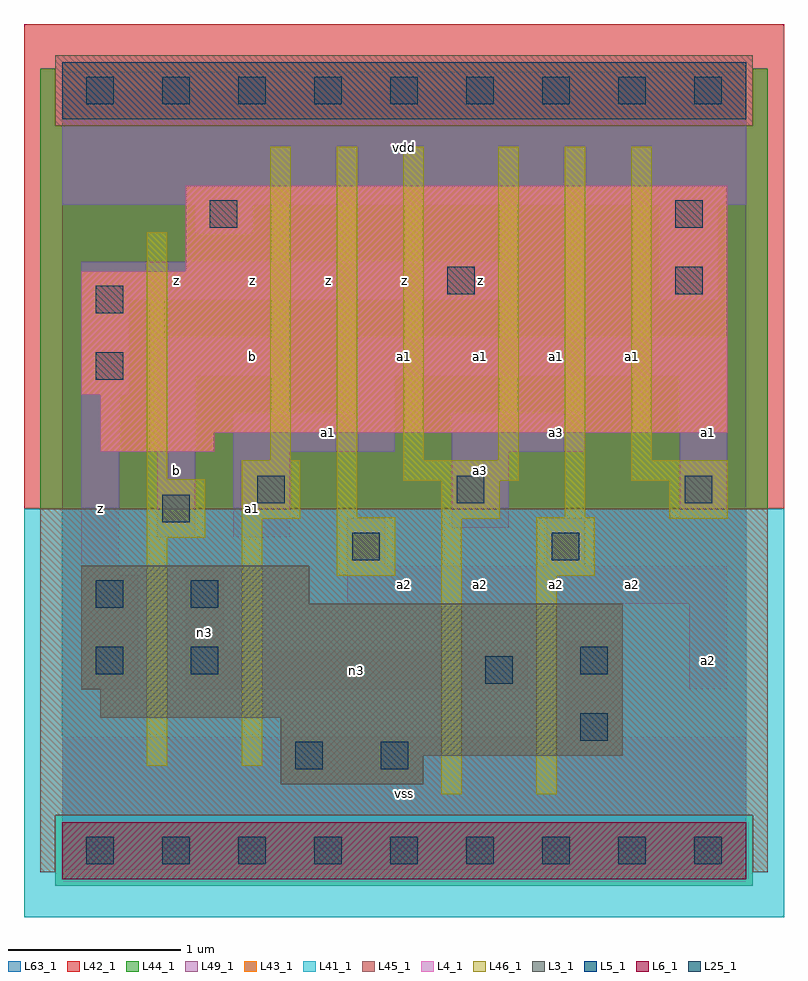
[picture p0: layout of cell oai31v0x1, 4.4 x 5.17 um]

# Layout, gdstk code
import gdstk
lib = gdstk.Library(unit=1e-6, precision=1e-09)
def R(c, l, rs):  # rectangles x0, y0, x1, y1
    for r in rs: c.add(gdstk.rectangle(r[:2], r[2:], *l))
def A(c, l, x, y, w, h, nx, ny, dx, dy):  # array of equal rectangles
    R(c, l, [(x+i*dx, y+j*dy, x+i*dx+w, y+j*dy+h) for i in range(nx) for j in range(ny)])
L3_1 = (3, 1)
L4_1 = (4, 1)
L5_1 = (5, 1)
L6_1 = (6, 1)
L25_1 = (25, 1)
L41_1 = (41, 1)
L42_1 = (42, 1)
L43_1 = (43, 1)
L44_1 = (44, 1)
L45_1 = (45, 1)
L46_1 = (46, 1)
L49_1 = (49, 1)
L63_1 = (63, 1)

oai31v0x1 = lib.new_cell('oai31v0x1')
R(oai31v0x1, L3_1, [(1.265,0.385,2.09,0.55), (1.265,0.55,3.245,0.77), (0.22,0.77,3.245,0.935), (0.11,0.935,3.245,1.43), (0.11,1.43,1.43,1.65)])
R(oai31v0x1, L4_1, [(0.22,2.31,0.88,2.42), (0.22,2.42,3.85,2.64), (0.11,2.64,3.85,3.355), (0.715,3.355,3.85,3.85)])
R(oai31v0x1, L5_1, [(0,4.235,3.96,4.565)])
R(oai31v0x1, L6_1, [(0,-0.165,3.96,0.165)])
A(oai31v0x1, L25_1, 0.14, -0.08, 0.16, 0.16, 9, 2, 0.44, 4.4)
R(oai31v0x1, L25_1, [(1.35,0.47,1.51,0.63), (1.845,0.47,2.005,0.63), (3,0.635,3.16,0.795), (2.45,0.965,2.61,1.125), (0.195,1.02,0.355,1.18), (0.745,1.02,0.905,1.18), (3,1.02,3.16,1.18), (0.195,1.405,0.355,1.565), (0.745,1.405,0.905,1.565), (1.68,1.68,1.84,1.84), (2.835,1.68,2.995,1.84), (0.58,1.9,0.74,2.06), (1.13,2.01,1.29,2.17), (2.285,2.01,2.445,2.17), (3.605,2.01,3.765,2.17), (0.195,2.725,0.355,2.885), (0.195,3.11,0.355,3.27), (2.23,3.22,2.39,3.38), (3.55,3.22,3.71,3.38), (0.855,3.605,1.015,3.765), (3.55,3.605,3.71,3.765)])
R(oai31v0x1, L41_1, [(-0.22,-0.385,4.18,1.98)])
R(oai31v0x1, L42_1, [(-0.22,1.98,4.18,4.785)])
R(oai31v0x1, L43_1, [(0,-0.165,3.96,0.165), (1.265,0.385,2.09,0.55), (1.265,0.55,3.245,0.77), (0.22,0.77,3.245,0.935), (0.11,0.935,3.245,1.43), (0.11,1.43,1.43,1.65), (0.22,2.31,0.88,2.42), (0.22,2.42,3.85,2.64), (0.11,2.64,3.85,3.355), (0.715,3.355,3.85,3.85), (0,4.235,3.96,4.565)])
R(oai31v0x1, L44_1, [(-0.04,-0.205,4,0.205), (-0.125,1.98,4.085,4.195), (-0.125,4.195,-0.04,4.525), (4,4.195,4.085,4.525)])
R(oai31v0x1, L45_1, [(-0.125,-0.125,-0.04,0.205), (4,-0.125,4.085,0.205), (-0.125,0.205,4.085,1.98), (-0.04,4.195,4,4.605)])
R(oai31v0x1, L46_1, [(2.195,0.325,2.315,1.92), (2.745,0.325,2.865,1.59), (0.49,0.49,0.61,1.81), (1.04,0.49,1.16,1.92), (1.59,1.59,1.93,1.93), (2.745,1.59,3.085,1.93), (0.49,1.81,0.83,2.15), (1.04,1.92,1.38,2.26), (2.195,1.92,2.535,2.14), (3.515,1.92,3.855,2.14), (1.59,1.93,1.71,4.075), (2.91,1.93,3.03,4.075), (1.975,2.14,2.645,2.26), (3.295,2.14,3.855,2.26), (0.49,2.15,0.61,3.58), (1.205,2.26,1.325,4.075), (1.975,2.26,2.095,4.075), (2.525,2.26,2.645,4.075), (3.295,2.26,3.415,4.075)])
R(oai31v0x1, L49_1, [(0,-0.11,3.96,0.66), (2.915,0.66,3.245,1.21), (0.11,0.935,0.44,1.595), (0.715,0.935,2.695,1.155), (3.63,0.935,3.85,1.43), (0.715,1.155,0.935,1.65), (1.65,1.43,3.85,1.65), (0.11,1.595,0.33,2.64), (1.65,1.65,1.87,1.925), (2.805,1.65,3.025,1.925), (0.55,1.815,0.77,2.75), (0.99,1.815,1.32,2.31), (2.255,1.87,2.585,2.31), (3.575,1.925,3.85,2.75), (0.99,2.31,1.925,2.53), (2.255,2.31,3.025,2.53), (1.705,2.53,1.925,2.75), (0.11,2.64,0.385,3.19), (0.55,2.75,1.265,2.97), (1.705,2.75,3.85,2.97), (0.11,3.19,2.585,3.41), (3.465,3.19,3.795,3.74), (0.77,3.575,1.1,3.74), (0,3.74,3.96,4.51)])
R(oai31v0x1, L63_1, [(0,0,3.96,4.4)])
oai31v0x1.add(gdstk.Label('z', (0.22,1.98), layer=49, texttype=1))
oai31v0x1.add(gdstk.Label('n3', (0.825,1.265), layer=49, texttype=1))
oai31v0x1.add(gdstk.Label('b', (0.66,2.2), layer=49, texttype=1))
oai31v0x1.add(gdstk.Label('a1', (1.1,1.98), layer=49, texttype=1))
oai31v0x1.add(gdstk.Label('b', (1.1,2.86), layer=49, texttype=1))
oai31v0x1.add(gdstk.Label('z', (0.66,3.3), layer=49, texttype=1))
oai31v0x1.add(gdstk.Label('z', (1.1,3.3), layer=49, texttype=1))
oai31v0x1.add(gdstk.Label('vss', (1.98,0.33), layer=49, texttype=1))
oai31v0x1.add(gdstk.Label('a2', (1.98,1.54), layer=49, texttype=1))
oai31v0x1.add(gdstk.Label('a1', (1.54,2.42), layer=49, texttype=1))
oai31v0x1.add(gdstk.Label('a1', (1.98,2.86), layer=49, texttype=1))
oai31v0x1.add(gdstk.Label('z', (1.54,3.3), layer=49, texttype=1))
oai31v0x1.add(gdstk.Label('z', (1.98,3.3), layer=49, texttype=1))
oai31v0x1.add(gdstk.Label('vdd', (1.98,4.07), layer=49, texttype=1))
oai31v0x1.add(gdstk.Label('a2', (2.42,1.54), layer=49, texttype=1))
oai31v0x1.add(gdstk.Label('n3', (1.705,1.045), layer=49, texttype=1))
oai31v0x1.add(gdstk.Label('a2', (2.86,1.54), layer=49, texttype=1))
oai31v0x1.add(gdstk.Label('a3', (2.42,2.2), layer=49, texttype=1))
oai31v0x1.add(gdstk.Label('a3', (2.86,2.42), layer=49, texttype=1))
oai31v0x1.add(gdstk.Label('a1', (2.86,2.86), layer=49, texttype=1))
oai31v0x1.add(gdstk.Label('a1', (2.42,2.86), layer=49, texttype=1))
oai31v0x1.add(gdstk.Label('z', (2.42,3.3), layer=49, texttype=1))
oai31v0x1.add(gdstk.Label('a2', (3.3,1.54), layer=49, texttype=1))
oai31v0x1.add(gdstk.Label('a2', (3.74,1.1), layer=49, texttype=1))
oai31v0x1.add(gdstk.Label('a1', (3.74,2.42), layer=49, texttype=1))
oai31v0x1.add(gdstk.Label('a1', (3.3,2.86), layer=49, texttype=1))

lib.write_gds('oai31v0x1.gds')
